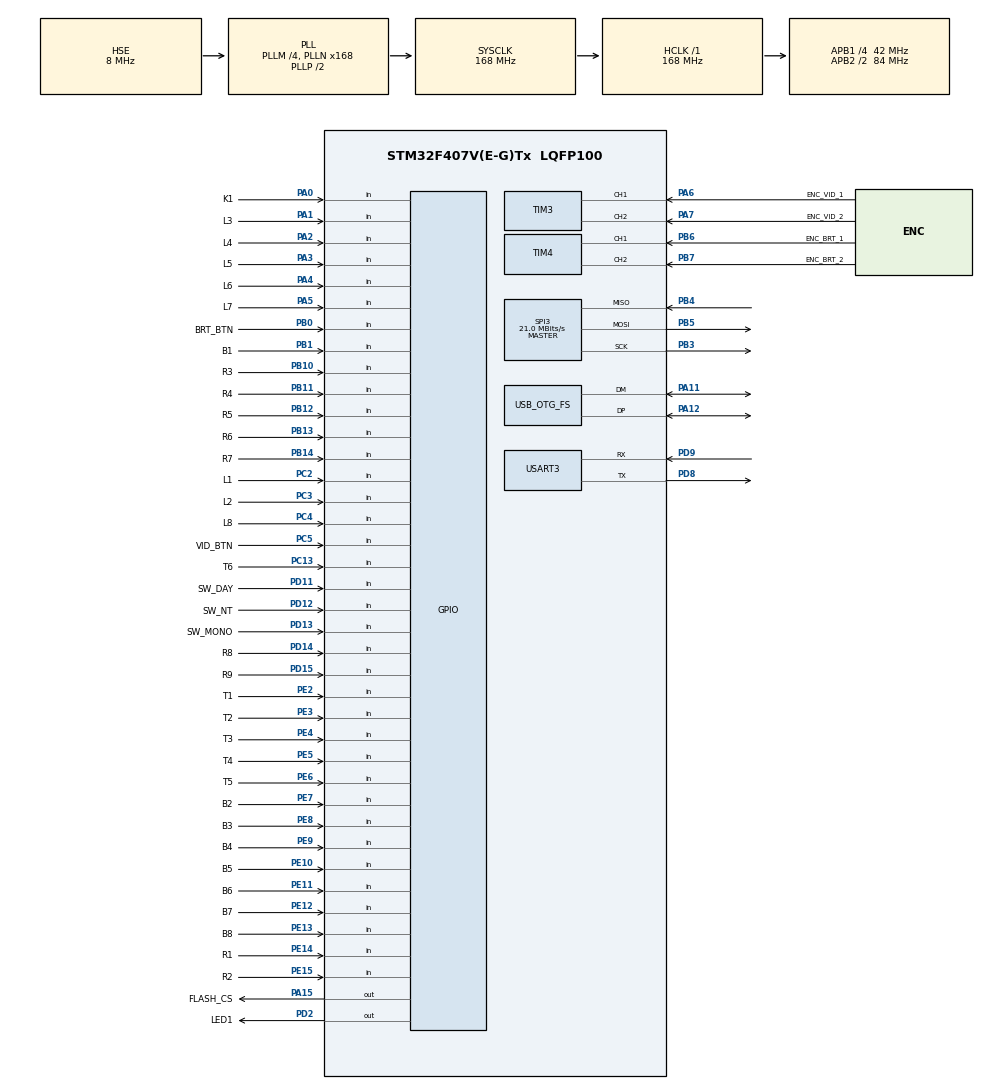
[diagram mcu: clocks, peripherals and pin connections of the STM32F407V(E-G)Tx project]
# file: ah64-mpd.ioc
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Dma.Request0=USART3_RX
Dma.Request1=USART3_TX
Dma.USART3_RX.0.Direction=DMA_PERIPH_TO_MEMORY
Dma.USART3_RX.0.FIFOMode=DMA_FIFOMODE_DISABLE
Dma.USART3_RX.0.Instance=DMA1_Stream1
Dma.USART3_RX.0.MemDataAlignment=DMA_MDATAALIGN_BYTE
Dma.USART3_RX.0.MemInc=DMA_MINC_ENABLE
Dma.USART3_RX.0.Mode=DMA_CIRCULAR
Dma.USART3_RX.0.PeriphDataAlignment=DMA_PDATAALIGN_BYTE
Dma.USART3_RX.0.PeriphInc=DMA_PINC_DISABLE
Dma.USART3_RX.0.Priority=DMA_PRIORITY_LOW
Dma.USART3_TX.1.Direction=DMA_MEMORY_TO_PERIPH
Dma.USART3_TX.1.FIFOMode=DMA_FIFOMODE_DISABLE
Dma.USART3_TX.1.Instance=DMA1_Stream3
Dma.USART3_TX.1.MemDataAlignment=DMA_MDATAALIGN_BYTE
Dma.USART3_TX.1.MemInc=DMA_MINC_ENABLE
Dma.USART3_TX.1.Mode=DMA_NORMAL
Dma.USART3_TX.1.PeriphDataAlignment=DMA_PDATAALIGN_BYTE
Dma.USART3_TX.1.PeriphInc=DMA_PINC_DISABLE
Dma.USART3_TX.1.Priority=DMA_PRIORITY_LOW
Mcu.Family=STM32F4
Mcu.Name=STM32F407V(E-G)Tx
Mcu.Package=LQFP100
NVIC.DMA1_Stream1_IRQn=true\:0\:0\:false\:false\:true\:false\:true\:true
NVIC.DMA1_Stream3_IRQn=true\:0\:0\:false\:false\:true\:false\:true\:true
NVIC.OTG_FS_IRQn=true\:0\:0\:false\:false\:true\:true\:true\:true
NVIC.PriorityGroup=NVIC_PRIORITYGROUP_4
NVIC.RCC_IRQn=true\:0\:0\:false\:false\:true\:true\:false\:true
NVIC.TIM1_TRG_COM_TIM11_IRQn=true\:0\:0\:false\:false\:true\:true\:true\:true
NVIC.USART3_IRQn=true\:0\:0\:false\:false\:true\:false\:true\:true
PA0-WKUP.GPIO_Label=K1
PA0-WKUP.GPIO_PuPd=GPIO_PULLDOWN
PA0-WKUP.Signal=GPIO_Input
PA1.GPIO_Label=L3
PA1.GPIO_PuPd=GPIO_PULLUP
PA1.Signal=GPIO_Input
PA11.Mode=Device_Only
PA11.Signal=USB_OTG_FS_DM
PA12.Mode=Device_Only
PA12.Signal=USB_OTG_FS_DP
PA13.Mode=Serial_Wire
PA13.Signal=SYS_JTMS-SWDIO
PA14.Mode=Serial_Wire
PA14.Signal=SYS_JTCK-SWCLK
PA15.GPIO_Label=FLASH_CS
PA15.GPIO_PuPd=GPIO_PULLUP
PA15.GPIO_Speed=GPIO_SPEED_FREQ_HIGH
PA15.Signal=GPIO_Output
PA2.GPIO_Label=L4
PA2.GPIO_PuPd=GPIO_PULLUP
PA2.Signal=GPIO_Input
PA3.GPIO_Label=L5
PA3.GPIO_PuPd=GPIO_PULLUP
PA3.Signal=GPIO_Input
PA4.GPIO_Label=L6
PA4.GPIO_PuPd=GPIO_PULLUP
PA4.Signal=GPIO_Input
PA5.GPIO_Label=L7
PA5.GPIO_PuPd=GPIO_PULLUP
PA5.Signal=GPIO_Input
PA6.GPIO_Label=ENC_VID_1
PA6.GPIO_PuPd=GPIO_PULLUP
PA6.Signal=S_TIM3_CH1
PA7.GPIO_Label=ENC_VID_2
PA7.GPIO_PuPd=GPIO_PULLUP
PA7.Signal=S_TIM3_CH2
PB0.GPIO_Label=BRT_BTN
PB0.GPIO_PuPd=GPIO_PULLUP
PB0.Signal=GPIO_Input
PB1.GPIO_Label=B1
PB1.GPIO_PuPd=GPIO_PULLUP
PB1.Signal=GPIO_Input
PB10.GPIO_Label=R3
PB10.GPIO_PuPd=GPIO_PULLUP
PB10.Signal=GPIO_Input
PB11.GPIO_Label=R4
PB11.GPIO_PuPd=GPIO_PULLUP
PB11.Signal=GPIO_Input
PB12.GPIO_Label=R5
PB12.GPIO_PuPd=GPIO_PULLUP
PB12.Signal=GPIO_Input
PB13.GPIO_Label=R6
PB13.GPIO_PuPd=GPIO_PULLUP
PB13.Signal=GPIO_Input
PB14.GPIO_Label=R7
PB14.GPIO_PuPd=GPIO_PULLUP
PB14.Signal=GPIO_Input
PB3.Mode=Full_Duplex_Master
PB3.Signal=SPI3_SCK
PB4.Mode=Full_Duplex_Master
PB4.Signal=SPI3_MISO
PB5.Mode=Full_Duplex_Master
PB5.Signal=SPI3_MOSI
PB6.GPIO_Label=ENC_BRT_1
PB6.GPIO_PuPd=GPIO_PULLUP
PB6.Signal=S_TIM4_CH1
PB7.GPIO_Label=ENC_BRT_2
PB7.GPIO_PuPd=GPIO_PULLUP
PB7.Signal=S_TIM4_CH2
PC13-ANTI_TAMP.GPIO_Label=T6
PC13-ANTI_TAMP.GPIO_PuPd=GPIO_PULLUP
PC13-ANTI_TAMP.Signal=GPIO_Input
PC2.GPIO_Label=L1
PC2.GPIO_PuPd=GPIO_PULLUP
PC2.Signal=GPIO_Input
PC3.GPIO_Label=L2
PC3.GPIO_PuPd=GPIO_PULLUP
PC3.Signal=GPIO_Input
PC4.GPIO_Label=L8
PC4.GPIO_PuPd=GPIO_PULLUP
PC4.Signal=GPIO_Input
PC5.GPIO_Label=VID_BTN
PC5.GPIO_PuPd=GPIO_PULLUP
PC5.Signal=GPIO_Input
PD11.GPIO_Label=SW_DAY
PD11.GPIO_Mode=GPIO_MODE_INPUT
PD11.GPIO_PuPd=GPIO_PULLUP
PD11.Signal=GPIO_Input
PD12.GPIO_Label=SW_NT
PD12.GPIO_Mode=GPIO_MODE_INPUT
PD12.GPIO_PuPd=GPIO_PULLUP
PD12.Signal=GPIO_Input
PD13.GPIO_Label=SW_MONO
PD13.GPIO_Mode=GPIO_MODE_INPUT
PD13.GPIO_PuPd=GPIO_PULLUP
PD13.Signal=GPIO_Input
PD14.GPIO_Label=R8
PD14.GPIO_PuPd=GPIO_PULLUP
PD14.Signal=GPIO_Input
PD15.GPIO_Label=R9
PD15.GPIO_PuPd=GPIO_PULLUP
PD15.Signal=GPIO_Input
PD2.GPIO_Label=LED1
PD2.GPIO_PuPd=GPIO_NOPULL
PD2.Signal=GPIO_Output
PD8.Mode=Asynchronous
PD8.Signal=USART3_TX
PD9.Mode=Asynchronous
PD9.Signal=USART3_RX
PE10.GPIO_Label=B5
PE10.GPIO_PuPd=GPIO_PULLUP
PE10.Signal=GPIO_Input
PE11.GPIO_Label=B6
PE11.GPIO_PuPd=GPIO_PULLUP
PE11.Signal=GPIO_Input
PE12.GPIO_Label=B7
PE12.GPIO_PuPd=GPIO_PULLUP
PE12.Signal=GPIO_Input
PE13.GPIO_Label=B8
PE13.GPIO_PuPd=GPIO_PULLUP
PE13.Signal=GPIO_Input
PE14.GPIO_Label=R1
PE14.GPIO_PuPd=GPIO_PULLUP
PE14.Signal=GPIO_Input
PE15.GPIO_Label=R2
PE15.GPIO_PuPd=GPIO_PULLUP
PE15.Signal=GPIO_Input
PE2.GPIO_Label=T1
PE2.GPIO_PuPd=GPIO_PULLUP
PE2.Signal=GPIO_Input
PE3.GPIO_Label=T2
PE3.GPIO_PuPd=GPIO_PULLUP
PE3.Signal=GPIO_Input
PE4.GPIO_Label=T3
PE4.GPIO_PuPd=GPIO_PULLUP
PE4.Signal=GPIO_Input
PE5.GPIO_Label=T4
PE5.GPIO_PuPd=GPIO_PULLUP
PE5.Signal=GPIO_Input
PE6.GPIO_Label=T5
PE6.GPIO_PuPd=GPIO_PULLUP
PE6.Signal=GPIO_Input
PE7.GPIO_Label=B2
PE7.GPIO_PuPd=GPIO_PULLUP
PE7.Signal=GPIO_Input
PE8.GPIO_Label=B3
PE8.GPIO_PuPd=GPIO_PULLUP
PE8.Signal=GPIO_Input
PE9.GPIO_Label=B4
PE9.GPIO_PuPd=GPIO_PULLUP
PE9.Signal=GPIO_Input
PH0-OSC_IN.Mode=HSE-External-Oscillator
PH0-OSC_IN.Signal=RCC_OSC_IN
PH1-OSC_OUT.Mode=HSE-External-Oscillator
PH1-OSC_OUT.Signal=RCC_OSC_OUT
ProjectManager.HeapSize=0x200
ProjectManager.StackSize=0x400
ProjectManager.TargetToolchain=Makefile
RCC.48MHZClocksFreq_Value=48000000
RCC.AHBFreq_Value=168000000
RCC.APB1CLKDivider=RCC_HCLK_DIV4
RCC.APB1Freq_Value=42000000
RCC.APB1TimFreq_Value=84000000
RCC.APB2CLKDivider=RCC_HCLK_DIV2
RCC.APB2Freq_Value=84000000
RCC.APB2TimFreq_Value=168000000
RCC.CortexFreq_Value=168000000
RCC.EnbaleCSS=true
RCC.HCLKFreq_Value=168000000
RCC.HSE_VALUE=8000000
RCC.HSI_VALUE=16000000
RCC.LSE_VALUE=32768
RCC.PLLM=4
RCC.PLLN=168
RCC.PLLQ=7
RCC.SYSCLKFreq_VALUE=168000000
RCC.SYSCLKSource=RCC_SYSCLKSOURCE_PLLCLK
RCC.VCOOutputFreq_Value=336000000
SH.S_TIM3_CH1.0=TIM3_CH1,Encoder_Interface
SH.S_TIM3_CH2.0=TIM3_CH2,Encoder_Interface
SH.S_TIM4_CH1.0=TIM4_CH1,Encoder_Interface
SH.S_TIM4_CH2.0=TIM4_CH2,Encoder_Interface
SPI3.CalculateBaudRate=21.0 MBits/s
SPI3.Direction=SPI_DIRECTION_2LINES
SPI3.Mode=SPI_MODE_MASTER
SPI3.VirtualType=VM_MASTER
TIM11.AutoReloadPreload=TIM_AUTORELOAD_PRELOAD_DISABLE
TIM11.Period=50
TIM11.Prescaler=8400-1
TIM3.AutoReloadPreload=TIM_AUTORELOAD_PRELOAD_ENABLE
TIM3.EncoderMode=TIM_ENCODERMODE_TI12
TIM3.IC1Filter=10
TIM3.IC2Filter=10
TIM4.AutoReloadPreload=TIM_AUTORELOAD_PRELOAD_ENABLE
TIM4.EncoderMode=TIM_ENCODERMODE_TI12
TIM4.IC1Filter=10
TIM4.IC2Filter=10
USART3.VirtualMode=VM_ASYNC
USB_DEVICE.CLASS_NAME_FS=CUSTOM_HID
USB_DEVICE.CONFIGURATION_STRING_CUSTOMHID_FS=HID Config
USB_DEVICE.INTERFACE_STRING_CUSTOMHID_FS=HID Interface
USB_DEVICE.MANUFACTURER_STRING-CUSTOM_HID_FS=Discostick
USB_DEVICE.PRODUCT_STRING_CUSTOMHID_FS=AH64-MPD
USB_DEVICE.USBD_CUSTOM_HID_REPORT_DESC_SIZE-CUSTOM_HID_FS=68
USB_DEVICE.VirtualMode-CUSTOM_HID_FS=CustomHid
USB_DEVICE.VirtualModeFS=Custom_Hid_FS
USB_OTG_FS.VirtualMode=Device_Only
VP_TIM11_VS_ClockSourceINT.Mode=Enable_Timer
VP_USB_DEVICE_VS_USB_DEVICE_CUSTOM_HID_FS.Mode=CUSTOM_HID_FS
board=custom

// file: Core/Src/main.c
/* USER CODE BEGIN Header */
/**
  ******************************************************************************
  * @file           : main.c
  * @brief          : Main program body
  ******************************************************************************
  * @attention
  *
  * Copyright (c) 2026 STMicroelectronics.
  * All rights reserved.
  *
  * This software is licensed under terms that can be found in the LICENSE file
  * in the root directory of this software component.
  * If no LICENSE file comes with this software, it is provided AS-IS.
  *
  ******************************************************************************
  */
/* USER CODE END Header */
#include "main.h"
#include "dma.h"
#include "spi.h"
#include "tim.h"
#include "usart.h"
#include "usb_device.h"
#include "gpio.h"

/* USER CODE BEGIN Includes */
#include <stdio.h>
#include "logger.h"
#include "uart.h"
#include "bus.h"
#include "spi_bus.h"
#include "dev_id_strings.h"
#include "dfu_load.h"
/* USER CODE END Includes */

/* USER CODE BEGIN PTD */
#define PUTCHAR_PROTOTYPE int __io_putchar(int ch)
#define LOG_PREFIX "[ah64-mpd]"
#define REPORT_SIZE 8U
/* USER CODE END PTD */

/* USER CODE BEGIN PV */
extern USBD_HandleTypeDef hUsbDeviceFS;

volatile bool USB_Interval_Elapsed = false;
static uint16_t prev_brt = 0;
static uint16_t prev_vid = 0;
static int16_t vid_enc = 0;
static int16_t brt_enc = 0;
static char stdout_buf[128] = {0};
volatile uint8_t report_buf[REPORT_SIZE] = {0};
uart_handle_t* uart_log = (uart_handle_t*)NULL;
static uart_handle_t uart_3;

bus_t spibus;
spi_bus_ctx_t spi_ctx = {&hspi3,FLASH_CS_GPIO_Port,FLASH_CS_Pin,100};
/* USER CODE END PV */

void SystemClock_Config(void);
/* USER CODE BEGIN PFP */

static void print_boot_msg(void);
static void check_dfu_input(void);
void update_input(void);
void send_usb_report(void);
uint8_t USBD_CUSTOM_HID_SendReport(USBD_HandleTypeDef *pdev, uint8_t *report, uint16_t len);
/* USER CODE END PFP */

int main(void)
{

  /* MCU Configuration--------------------------------------------------------*/

  /* Reset of all peripherals, Initializes the Flash interface and the Systick. */
  HAL_Init();

  /* USER CODE BEGIN Init */
    //dfu_check_and_enter();
  /* USER CODE END Init */

  /* Configure the system clock */
  SystemClock_Config();

  /* Initialize all configured peripherals */
  MX_GPIO_Init();
  MX_DMA_Init();
  MX_SPI3_Init();
  MX_TIM3_Init();
  MX_TIM4_Init();
  MX_USART3_UART_Init();
  MX_USB_DEVICE_Init();
  MX_TIM11_Init();
  /* USER CODE BEGIN 2 */

    setvbuf(stdout, stdout_buf, _IOLBF, sizeof(stdout_buf));
    print_boot_msg();
    uart_log = &uart_3;
    if(UART_OK != uart_init(uart_log, &huart3)){
      if(UART_OK != uart_init(uart_log, &huart3))    {
        //Fall back to plain HAL_UART function
        uart_log = NULL;
        log_error("%sFailed to initialize log UART",LOG_PREFIX);
      }
    }

    HAL_GPIO_WritePin(FLASH_CS_GPIO_Port, FLASH_CS_Pin, GPIO_PIN_SET);
    HAL_TIM_Encoder_Start(&htim3, TIM_CHANNEL_ALL);
    HAL_TIM_Encoder_Start(&htim4, TIM_CHANNEL_ALL);
    __HAL_TIM_SET_COUNTER(&htim3, 0);
    __HAL_TIM_SET_COUNTER(&htim4, 0);
  /* USER CODE END 2 */

  /* Infinite loop */
  /* USER CODE BEGIN WHILE */
    log_info("%sWaiting for USB to finish configuring...",LOG_PREFIX);
    uint32_t ms_elapsed = HAL_GetTick();
    while(hUsbDeviceFS.dev_state != USBD_STATE_CONFIGURED)  {
        ;;
    }
    log_info("%sConfiguration took %lums!",LOG_PREFIX, HAL_GetTick() - ms_elapsed);
    HAL_TIM_Base_Start_IT(&htim11);
    log_info("%sAll initialization complete, jumping to main program loop",LOG_PREFIX);
  while (1)
  {
    if(USB_Interval_Elapsed)    {
        check_dfu_input();
        update_input();
        send_usb_report();
        USB_Interval_Elapsed = false;
        HAL_TIM_Base_Start_IT(&htim11);

    }
    /* USER CODE END WHILE */

  }
}

void SystemClock_Config(void)
{
  RCC_OscInitTypeDef RCC_OscInitStruct = {0};
  RCC_ClkInitTypeDef RCC_ClkInitStruct = {0};

  /** Configure the main internal regulator output voltage
  */
  __HAL_RCC_PWR_CLK_ENABLE();
  __HAL_PWR_VOLTAGESCALING_CONFIG(PWR_REGULATOR_VOLTAGE_SCALE1);

  /** Initializes the RCC Oscillators according to the specified parameters
  * in the RCC_OscInitTypeDef structure.
  */
  RCC_OscInitStruct.OscillatorType = RCC_OSCILLATORTYPE_HSE;
  RCC_OscInitStruct.HSEState = RCC_HSE_ON;
  RCC_OscInitStruct.PLL.PLLState = RCC_PLL_ON;
  RCC_OscInitStruct.PLL.PLLSource = RCC_PLLSOURCE_HSE;
  RCC_OscInitStruct.PLL.PLLM = 4;
  RCC_OscInitStruct.PLL.PLLN = 168;
  RCC_OscInitStruct.PLL.PLLP = RCC_PLLP_DIV2;
  RCC_OscInitStruct.PLL.PLLQ = 7;
  if (HAL_RCC_OscConfig(&RCC_OscInitStruct) != HAL_OK)
  {
    Error_Handler();
  }

  /** Initializes the CPU, AHB and APB buses clocks
  */
  RCC_ClkInitStruct.ClockType = RCC_CLOCKTYPE_HCLK|RCC_CLOCKTYPE_SYSCLK
                              |RCC_CLOCKTYPE_PCLK1|RCC_CLOCKTYPE_PCLK2;
  RCC_ClkInitStruct.SYSCLKSource = RCC_SYSCLKSOURCE_PLLCLK;
  RCC_ClkInitStruct.AHBCLKDivider = RCC_SYSCLK_DIV1;
  RCC_ClkInitStruct.APB1CLKDivider = RCC_HCLK_DIV4;
  RCC_ClkInitStruct.APB2CLKDivider = RCC_HCLK_DIV2;

  if (HAL_RCC_ClockConfig(&RCC_ClkInitStruct, FLASH_LATENCY_5) != HAL_OK)
  {
    Error_Handler();
  }

  /** Enables the Clock Security System
  */
  HAL_RCC_EnableCSS();
}

/* USER CODE BEGIN 4 */
void HAL_TIM_PeriodElapsedCallback(TIM_HandleTypeDef *htim) {
    if(htim == &htim11) {
            USB_Interval_Elapsed= true;
    }
}

static void check_dfu_input(void)   {

    static uint16_t ticks_5ms = 0;
    if(GPIO_PIN_RESET == HAL_GPIO_ReadPin(VID_BTN_GPIO_Port, VID_BTN_Pin) && GPIO_PIN_RESET == HAL_GPIO_ReadPin(BRT_BTN_GPIO_Port, BRT_BTN_Pin))    {
       ticks_5ms++;
       if(ticks_5ms >= 1000)    {
           log_warning("%sBootloader request received, resetting into DFU mode!", LOG_PREFIX);
           //dfu_request_and_reset();
           reboot_dfu();
       }
    }
    else    {
        ticks_5ms = 0;
    }

}

static inline int16_t enc_delta_16(TIM_HandleTypeDef *htim, uint16_t *prev)
{
    uint16_t now = (uint16_t)__HAL_TIM_GET_COUNTER(htim);
    int16_t d = (int16_t)(now - *prev);   // signed handles wrap naturally in 2's complement
    *prev = now;
    return d;
}

static inline uint32_t compress_bits_u32(uint32_t v, uint32_t mask)
{
    uint32_t out = 0;
    uint32_t bit = 0;

    while (mask) {
        uint32_t lsb = mask & (0u - mask);
        out |= ((v & lsb) ? 0u : 1u) << bit;
        mask &= (mask - 1u);
        bit++;
    }
    return out;
}

static inline uint32_t popcount_u32(uint32_t x)
{
    uint32_t n = 0;
    while (x) { x &= (x - 1u); n++; }
    return n;
}

static inline void pack_buttons(uint8_t* out5)
{
    uint32_t idrA = GPIOA->IDR;
    uint32_t idrB = GPIOB->IDR;
    uint32_t idrC = GPIOC->IDR;
    uint32_t idrD = GPIOD->IDR;
    uint32_t idrE = GPIOE->IDR;

    const struct { uint32_t idr; uint32_t mask; } groups[] = {

        // GPIOE buttons
        { idrE, T1_Pin | T2_Pin | T3_Pin | T4_Pin | T5_Pin | B2_Pin | B3_Pin | B4_Pin |
                B5_Pin | B6_Pin | B7_Pin | B8_Pin | R1_Pin | R2_Pin },

        // GPIOC buttons
        { idrC, T6_Pin | L1_Pin | L2_Pin | L8_Pin | VID_BTN_Pin },

        // GPIOA buttons
        { idrA, L3_Pin | L4_Pin | L5_Pin | L6_Pin | L7_Pin },

        // GPIOB buttons
        { idrB, BRT_BTN_Pin | B1_Pin | R3_Pin | R4_Pin | R5_Pin | R6_Pin | R7_Pin },

        // GPIOD buttons
        { idrD, R8_Pin | R9_Pin | SW_DAY_Pin | SW_MONO_Pin | SW_NT_Pin},
    };

    uint64_t bits = 0;
    uint32_t bitpos = 0;

    for (uint32_t i = 0; i < 5; i++) {
        uint32_t packed = compress_bits_u32(groups[i].idr, groups[i].mask);
        uint32_t nbits  = popcount_u32(groups[i].mask);
        bits |= ((uint64_t)packed) << bitpos;
        bitpos += nbits;
    }

    // Write 36 bits → 5 bytes
    out5[0] = (uint8_t)(bits >> 0);
    out5[1] = (uint8_t)(bits >> 8);
    out5[2] = (uint8_t)(bits >> 16);
    out5[3] = (uint8_t)(bits >> 24);
    out5[4] = (uint8_t)(bits >> 32);
}

static inline int8_t clamp_i8(int16_t v)
{
    if (v > 127) return 127;
    if (v < -127) return -127;
    return (int8_t)v;
}

static inline uint8_t clamp_u8(int16_t v)
{
    if(v>255)   {
        return (uint8_t) 255;
    }
    else if (v<0)   {
        return (uint8_t) 0;
    }
    else    {
        return (uint8_t)v;
    }
}

static inline int8_t pop_detents(int16_t *acc)
{
    int8_t det = (int8_t)(*acc / 4);
    *acc -= (int16_t)det * 4;
    return det;
}

static inline int8_t encoder_to_hid(int16_t delta_counts)
{
    // If your encoder produces 4 counts per detent, use >>2
    // If 2 counts per detent, use >>1
    // Start with /4 and adjust after testing.
    int16_t detents = delta_counts / 4;
    return clamp_i8(detents);
}

void update_input(void) {
    static uint8_t brt_axis = 128;
    static uint8_t vid_axis = 128;
    static int8_t brt_detents = 0;
    static int8_t vid_detents = 0;

    report_buf[0] = 0x01; // report ID
    pack_buttons(&report_buf[1]);

    vid_enc += enc_delta_16(&htim3,&prev_vid);
    brt_enc += enc_delta_16(&htim4,&prev_brt);
    vid_detents = pop_detents(&vid_enc);
    brt_detents = pop_detents(&brt_enc);

    if(vid_detents){
        vid_axis = clamp_u8((int16_t)vid_axis + (int16_t)vid_detents * 4);
    }
    if(brt_detents){
        brt_axis = clamp_u8((int16_t)brt_axis + (int16_t)brt_detents * 4);
    }

    // Encoders (example placeholders)
    report_buf[6] = vid_axis;
    report_buf[7] = brt_axis;
}

void send_usb_report(void)  {
    volatile static uint8_t send_buf[REPORT_SIZE] = {0};
    memcpy(send_buf,report_buf,sizeof(send_buf));
    uint8_t status = USBD_CUSTOM_HID_SendReport(&hUsbDeviceFS, send_buf, sizeof(send_buf));
    if(status != USBD_OK) {
        if(status==USBD_BUSY)   {
        	return;
        }
        else if(status != USBD_OK)   {
            log_warning("%sUSB SendReport failed with error: %d", LOG_PREFIX, status);
        }
    }
    if(status==USBD_OK) {
        //vid_enc -= (int16_t)((int8_t)report_buf[6]*4);
        //brt_enc -= (int16_t)((int8_t)report_buf[7]*4);
    }

}

static void print_boot_msg(void) {
    log_printf("\n");
	log_info("\033[0;37mBooting from internal flash...");
    uint32_t uuid[3] =  {HAL_GetUIDw0(), HAL_GetUIDw1(), HAL_GetUIDw2()};
    uint32_t devid = HAL_GetDEVID();
    log_info("\033[0;37mDevice family: %s, Device revision: 0x%04x", get_stm32_family_str((uint16_t)(devid & 0x0FFF)),(uint16_t)((devid >> 16) & 0xFFFF));
    log_info("\033[0;37mDevice UID: %lu%lu%lu", uuid[0], uuid[1], uuid[2]);
	RCC_ClkInitTypeDef clk;
	uint32_t flashLatency;
	HAL_RCC_GetClockConfig(&clk, &flashLatency);
	uint32_t sysclk = HAL_RCC_GetSysClockFreq();
	uint32_t hclk = HAL_RCC_GetHCLKFreq();
	uint32_t pclk1 = HAL_RCC_GetPCLK1Freq();
	uint32_t pclk2 = HAL_RCC_GetPCLK2Freq();
    log_info("\033[0;37msysclk: %lu, hclk: %lu, pclk1: %lu, pclk2: %lu, flash_latency: %lu",
                sysclk, hclk, pclk1, pclk2, flashLatency);
}

PUTCHAR_PROTOTYPE {
	/* Place your implementation of fputc here */
	/* e.g. write a character to the USART1 and Loop until the end of transmission */
	HAL_UART_Transmit(&huart3, (uint8_t*) &ch, 1, 0xFFFF);
	//CDC_Transmit_FS((uint8_t*)&ch, 1);

	return ch;
}

int _write(int fd, char *ptr, int len) {

    if(uart_log!=NULL)  {
        uart_write(uart_log, (uint8_t*)ptr, len);
    }
    else    {
        HAL_UART_Transmit(&huart3, (uint8_t*)ptr, len, HAL_MAX_DELAY);
    }
	return len;
}
#ifdef halerror
/* USER CODE END 4 */

void Error_Handler(void)
{
  /* USER CODE BEGIN Error_Handler_Debug */
  /* User can add his own implementation to report the HAL error return state */
  __disable_irq();
  while (1)
  {
  }
#endif
  /* USER CODE END Error_Handler_Debug */
